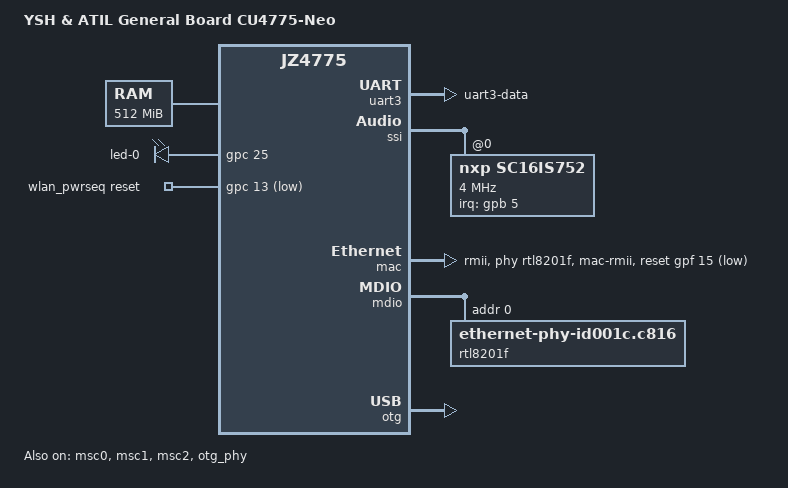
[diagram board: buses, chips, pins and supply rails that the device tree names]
// SPDX-License-Identifier: GPL-2.0
/dts-v1/;

#include "jz4775.dtsi"
#include <dt-bindings/gpio/gpio.h>
#include <dt-bindings/interrupt-controller/irq.h>

/ {
	compatible = "yna,cu4775-neo", "ingenic,jz4775";
	model = "YSH & ATIL General Board CU4775-Neo";

	aliases {
		serial3 = &uart3;
	};

	chosen {
		stdout-path = "serial3:115200n8";
	};

	memory {
		device_type = "memory";
		reg = <0x0 0x10000000>,
		      <0x30000000 0x10000000>;
	};

	leds {
		compatible = "gpio-leds";
		led-0 {
			gpios = <&gpc 25 GPIO_ACTIVE_HIGH>;
			linux,default-trigger = "mmc0";
		};
	};

	wlan_pwrseq: msc1-pwrseq {
		compatible = "mmc-pwrseq-simple";

		reset-gpios = <&gpc 13 GPIO_ACTIVE_LOW>;
		post-power-on-delay-ms = <200>;
	};
};

&exclk {
	clock-frequency = <24000000>;
};

&cgu {
	/*
	 * Use the 32.768 kHz oscillator as the parent of the RTC for a higher
	 * precision.
	 */
	assigned-clocks = <&cgu JZ4775_CLK_RTC>;
	assigned-clock-parents = <&cgu JZ4775_CLK_RTCLK>;
};

&tcu {
	/* 1500 kHz for the system timer, the clocksource, and the OST. */
	assigned-clocks = <&tcu TCU_CLK_TIMER0>, <&tcu TCU_CLK_TIMER1>, <&tcu TCU_CLK_OST>;
	assigned-clock-rates = <1500000>, <1500000>, <1500000>;
};

&uart3 {
	status = "okay";

	pinctrl-names = "default";
	pinctrl-0 = <&pins_uart3>;
};

&ssi {
	status = "okay";

	spi-max-frequency = <54000000>;

	sc16is752: expander@0 {
		compatible = "nxp,sc16is752";
		reg = <0>; /* CE0 */
		spi-max-frequency = <4000000>;

		clocks = <&exclk_sc16is752>;

		interrupt-parent = <&gpb>;
		interrupts = <5 IRQ_TYPE_EDGE_FALLING>;

		gpio-controller;
		#gpio-cells = <2>;

		exclk_sc16is752: sc16is752 {
			compatible = "fixed-clock";
			#clock-cells = <0>;
			clock-frequency = <48000000>;
		};
	};
};

&msc0 {
	status = "okay";

	bus-width = <8>;
	max-frequency = <50000000>;

	pinctrl-names = "default";
	pinctrl-0 = <&pins_msc0>;

	non-removable;
};

&msc1 {
	status = "okay";

	bus-width = <4>;
	max-frequency = <50000000>;

	pinctrl-names = "default";
	pinctrl-0 = <&pins_msc1>;

	non-removable;
};

&msc2 {
	status = "okay";

	bus-width = <4>;
	max-frequency = <50000000>;

	pinctrl-names = "default";
	pinctrl-0 = <&pins_msc2>;
};

&mac {
	status = "okay";

	phy-mode = "rmii";
	phy-handle = <&rtl8201f>;

	pinctrl-names = "default";
	pinctrl-0 = <&pins_mac>;

	snps,reset-gpio = <&gpf 15 GPIO_ACTIVE_LOW>; /* PF15 */
	snps,reset-active-low;
	snps,reset-delays-us = <0 10000 30000>;
};

&mdio {
	status = "okay";

	rtl8201f: ethernet-phy@0 {
		compatible = "ethernet-phy-id001c.c816", "ethernet-phy-ieee802.3-c22";
		reg = <0>;
	};
};

&otg_phy {
	status = "okay";
};

&otg {
	status = "okay";
};

&pinctrl {
	pins_uart3: uart3 {
		function = "uart3";
		groups = "uart3-data";
		bias-disable;
	};

	pins_msc0: msc0 {
		function = "mmc0";
		groups = "mmc0-1bit-a", "mmc0-4bit-a", "mmc0-8bit-a";
		bias-disable;
	};

	pins_msc1: msc1 {
		function = "mmc1";
		groups = "mmc1-1bit-d", "mmc1-4bit-d";
		bias-disable;
	};

	pins_msc2: msc2 {
		function = "mmc2";
		groups = "mmc2-1bit-e", "mmc2-4bit-e";
		bias-disable;
	};

	pins_mac: mac {
		function = "mac";
		groups = "mac-rmii";
		bias-disable;
	};
};
